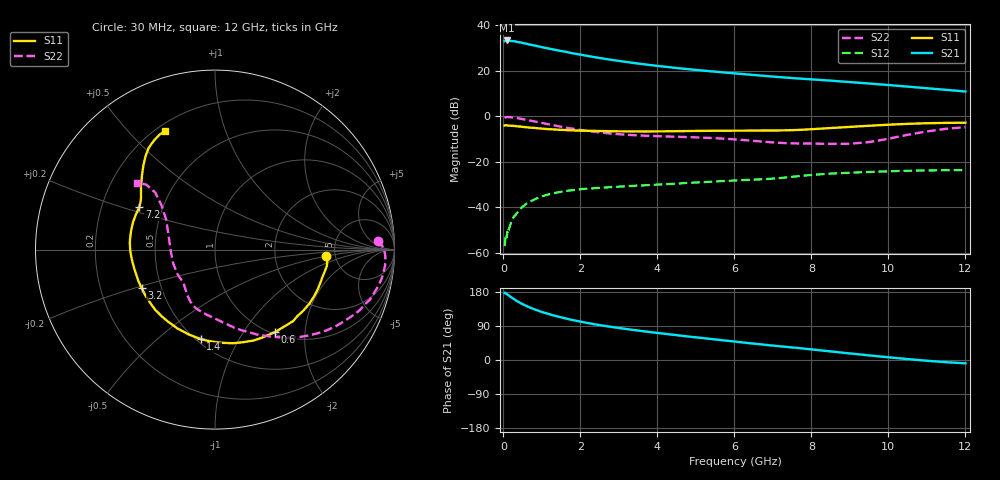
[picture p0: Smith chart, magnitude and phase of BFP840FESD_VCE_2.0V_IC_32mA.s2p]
! Infineon Technologies  Discrete & RF Semiconductors
! BFP840FESD
! VCE =  2.0 V,  IC =  32 mA
! Common Emitter S-Parameters:  May 2012
# GHz  S  MA  R  50
!  f  S11  S21  S12  S22
! GHz  MAG  ANG  MAG  ANG  MAG  ANG  MAG  ANG
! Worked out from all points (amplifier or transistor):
!   103 points, 30 MHz to 12 GHz, reference 50 ohm
!   highest |S21| = 33.2 dB at 80 MHz (marker M1)
!   |S21| within 3 dB of that: start of sweep to 1.018 GHz
!   unconditionally stable (mu >= 1): start of sweep to 30.32 MHz; 5.087 GHz to end of sweep
!   at 400 MHz: K = 0.26, MSG = 37.0 dB, |S12| = -41.5 dB
!   at 3.7 GHz: K = 0.86, MSG = 26.5 dB, |S12| = -30.3 dB
!   at 12 GHz: K = 1.08, MAG = 15.6 dB, |S12| = -23.7 dB
!   S11 on the Smith chart (normalised r, x): 30 MHz: 4.21, -0.47; 600 MHz: 1.04, -1.41; 1.4 GHz: 0.53, -0.71; 3.2 GHz: 0.39, -0.21; 7.2 GHz: 0.37, +0.23; 12 GHz: 0.23, +0.63
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0.03  0.62 -3.2  44 176.7  0.0014 84.2  0.9068 3.2
0.04  0.6222 -4.2  44.33 176.2  0.0016 80.2  0.922 2.1
0.05  0.6294 -5.3  45 177.2  0.0021 70.3  0.9329 1.2
0.08  0.6298 -8.5  45.65 174.7  0.0025 90.2  0.9477 -1.6
0.2  0.6138 -20.9  44.36 165.6  0.0047 76.8  0.9426 -9.9
0.3  0.6058 -30.0  43.59 158.9  0.0066 74.4  0.9182 -15.4
0.35  0.5982 -34.8  42.46 155.5  0.0074 73.0  0.9061 -18.0
0.45  0.5901 -42.5  41.4 149.8  0.0094 70.4  0.8757 -22.5
0.6  0.5683 -53.9  38.63 142.5  0.012 66.0  0.8248 -28.8
0.9  0.5391 -73.2  34.03 130.3  0.0161 59.3  0.7357 -39.4
1.1  0.5223 -84.5  31.22 123.6  0.0184 55.5  0.6806 -45.6
1.4  0.5047 -99.0  27.81 115.0  0.0211 50.8  0.6063 -53.7
1.8  0.4867 -115.7  23.85 105.4  0.0237 46.1  0.5272 -63.8
2.1  0.4774 -125.7  21.55 99.3  0.0253 43.3  0.4818 -70.2
2.6  0.4681 -139.7  18.23 90.5  0.0271 41.0  0.4297 -79.4
3.2  0.4612 -152.6  15.39 81.7  0.029 39.7  0.3892 -88.5
4.1  0.4629 -168.1  12.36 70.2  0.0317 39.7  0.3605 -99.4
6.1  0.4792 165.8  8.527 47.6  0.0389 40.6  0.304 -119.5
7.2  0.4851 150.6  7.138 36.0  0.0439 43.0  0.2585 -132.4
8.5  0.5467 138.9  5.991 22.6  0.0547 39.3  0.2454 -161.5
10.5  0.6761 123.2  4.437 2.4  0.0632 30.5  0.3888 140.3
12  0.7162 113.1  3.459 -8.8  0.0652 26.7  0.5724 139.3
